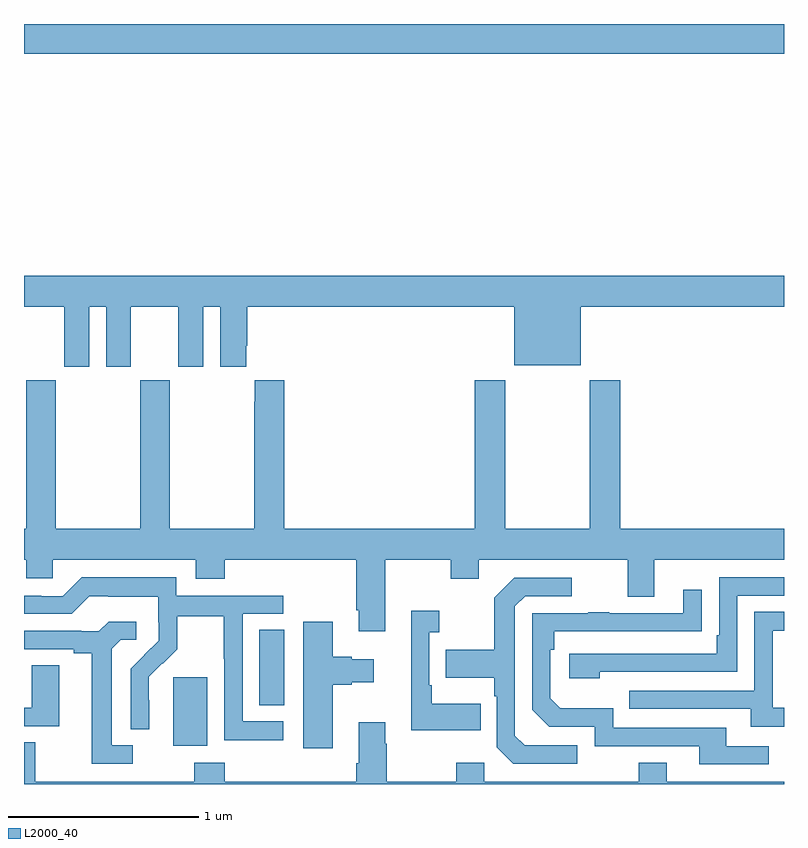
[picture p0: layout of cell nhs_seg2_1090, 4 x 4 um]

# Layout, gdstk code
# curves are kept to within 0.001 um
import gdstk
lib = gdstk.Library(unit=1e-6, precision=1e-09)
def R(c, l, rs):  # rectangles x0, y0, x1, y1
    for r in rs: c.add(gdstk.rectangle(r[:2], r[2:], *l))
def P(c, l, *ps):  # polygons
    for p in ps: c.add(gdstk.Polygon(p, *l))
L2000_40 = (2000, 40)

nhs_seg2_1090 = lib.new_cell('nhs_seg2_1090')
R(nhs_seg2_1090, L2000_40, [(167.786,636.002,167.965,636.363), (168.239,636.214,168.37,636.611), (167,639.644,171,639.8)])
P(nhs_seg2_1090, L2000_40, [(167.344,638.312),(167.432,638.312),(167.432,637.995),(167.563,637.995),(167.563,638.312),(167.813,638.312),(167.813,637.995),(167.944,637.995),(167.944,638.312),(168.032,638.312),(168.032,637.995),(168.169,637.995),(168.169,638.107),(168.176,638.107),(168.176,638.312),(169.58,638.312),(169.58,638.003),(169.93,638.003),(169.93,638.312),(171,638.312),(171,638.476),(167,638.476),(167,638.312),(167.213,638.312),(167.213,637.995),(167.344,637.995)],
  [(168.901,636.98),(169.246,636.98),(169.246,636.881),(169.393,636.881),(169.393,636.98),(170.177,636.98),(170.177,636.786),(170.317,636.786),(170.317,636.98),(171,636.98),(171,637.144),(170.138,637.144),(170.138,637.924),(169.978,637.924),(169.978,637.144),(169.533,637.144),(169.533,637.924),(169.373,637.924),(169.373,637.144),(168.371,637.144),(168.371,637.924),(168.215,637.924),(168.215,637.811),(168.211,637.811),(168.211,637.144),(167.766,637.144),(167.766,637.924),(167.611,637.924),(167.611,637.144),(167.166,637.144),(167.166,637.924),(167.011,637.924),(167.011,637.144),(167,637.144),(167,636.98),(167.013,636.98),(167.013,636.882),(167.151,636.882),(167.151,636.98),(167.903,636.98),(167.903,636.881),(168.056,636.881),(168.056,636.98),(168.749,636.98),(168.749,636.715),(168.761,636.715),(168.761,636.603),(168.901,636.603)],
  [(168.364,636.129),(168.15,636.129),(168.15,636.696),(168.364,636.696),(168.364,636.792),(167.802,636.792),(167.802,636.889),(167.305,636.889),(167.205,636.789),(167.09,636.789),(167.09,636.792),(167,636.792),(167,636.696),(167.25,636.696),(167.343,636.789),(167.443,636.789),(167.443,636.785),(167.706,636.785),(167.706,636.651),(167.708,636.651),(167.708,636.554),(167.562,636.406),(167.562,636.088),(167.658,636.088),(167.657,636.365),(167.727,636.435),(167.73,636.432),(167.807,636.509),(167.807,636.684),(168.052,636.684),(168.052,636.46),(168.054,636.46),(168.054,636.031),(168.364,636.031)],
  [(170.03,636.39),(170.754,636.39),(170.754,636.792),(171,636.792),(171,636.888),(170.658,636.888),(170.658,636.583),(170.645,636.583),(170.645,636.486),(169.869,636.486),(169.869,636.356),(170.03,636.356)],
  [(169.912,636.003),(169.635,636.003),(169.584,636.054),(169.584,636.735),(169.638,636.789),(169.882,636.789),(169.882,636.885),(169.581,636.885),(169.476,636.779),(169.476,636.507),(169.219,636.507),(169.219,636.359),(169.476,636.359),(169.476,636.263),(169.488,636.263),(169.488,635.994),(169.575,635.907),(169.912,635.907)],
  [(170.92,636),(170.695,636),(170.695,636.096),(170.1,636.096),(170.1,636.199),(169.823,636.199),(169.77,636.252),(169.77,636.506),(169.79,636.506),(169.79,636.603),(170.567,636.604),(170.567,636.823),(170.471,636.823),(170.471,636.699),(170.081,636.699),(170.081,636.704),(169.969,636.704),(169.969,636.699),(169.674,636.699),(169.674,636.192),(169.764,636.102),(170.004,636.102),(170.004,636),(170.555,636),(170.555,635.904),(170.92,635.904)],
  [(169.403,636.223),(169.147,636.223),(169.147,636.319),(169.134,636.319),(169.134,636.599),(169.186,636.599),(169.186,636.712),(169.037,636.712),(169.037,636.083),(169.403,636.083)],
  [(171,636.201),(170.94,636.201),(170.94,636.606),(171,636.606),(171,636.707),(170.844,636.707),(170.844,636.291),(170.185,636.291),(170.185,636.195),(170.825,636.195),(170.825,636.101),(171,636.101)],
  [(168.625,636.323),(168.725,636.323),(168.725,636.335),(168.841,636.335),(168.841,636.457),(168.725,636.457),(168.725,636.47),(168.625,636.47),(168.625,636.655),(168.47,636.655),(168.47,635.988),(168.625,635.988)],
  [(167.572,636.003),(167.461,636.003),(167.461,636.511),(167.508,636.558),(167.59,636.558),(167.59,636.655),(167.446,636.655),(167.394,636.603),(167.3,636.603),(167.3,636.606),(167,636.606),(167,636.51),(167.261,636.51),(167.261,636.488),(167.357,636.488),(167.357,635.907),(167.572,635.907)],
  [(167.185,636.425),(167.04,636.425),(167.04,636.201),(167,636.201),(167,636.105),(167.185,636.105)],
  [(171,635.812),(170.383,635.812),(170.383,635.911),(170.236,635.911),(170.236,635.812),(169.422,635.812),(169.422,635.911),(169.276,635.911),(169.276,635.812),(168.909,635.812),(168.909,636.011),(168.901,636.011),(168.901,636.124),(168.761,636.124),(168.761,635.908),(168.749,635.908),(168.749,635.812),(168.056,635.812),(168.056,635.911),(167.896,635.911),(167.896,635.812),(167.059,635.812),(167.059,636.02),(167,636.02),(167,635.8),(171,635.8)])

lib.write_gds('nhs_seg2_1090.gds')
